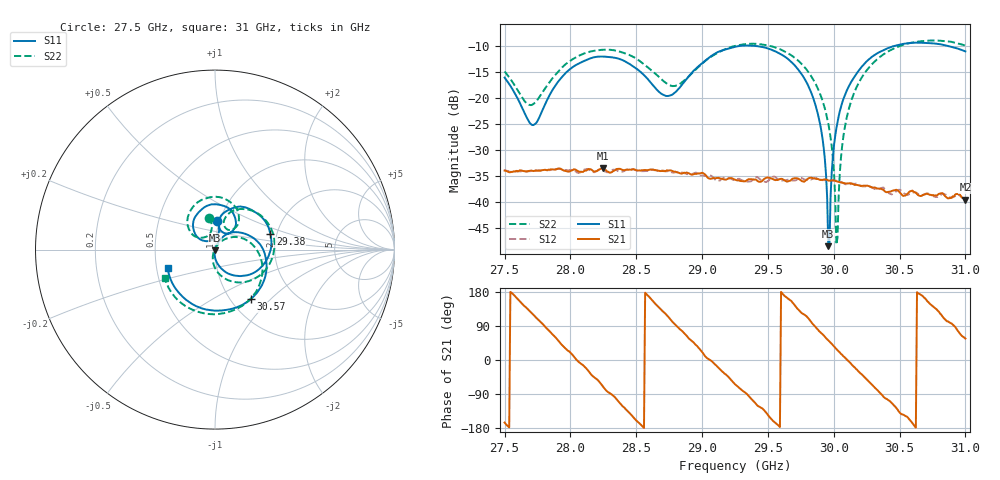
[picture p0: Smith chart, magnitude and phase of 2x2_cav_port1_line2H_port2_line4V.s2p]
!Created with skrf (http://scikit-rf.org).
# GHz S RI R 50.0
!freq ReS11 ImS11 ReS21 ImS21 ReS12 ImS12 ReS22 ImS22
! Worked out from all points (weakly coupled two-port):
!   401 points, 27.5 GHz to 31 GHz, reference 50 ohm
!   highest |S21| = -33.46 dB at 28.24 GHz (marker M1); lowest = -39.5 dB at 31 GHz (marker M2)
!   lowest |S11| = -48.4 dB at 29.96 GHz (marker M3), VSWR 1.01, Z = 50 - j0.377 ohm
!   |S11| at or under -10 dB: start of sweep to 29.27 GHz; 29.43 GHz to 30.45 GHz (1.016 GHz wide, 3.39 % of centre); 30.87929 GHz to end of sweep
!   |S22| runs from -48.1 to -8.9 dB; largest |S21 - S12| = 0.0016
!   S11 on the Smith chart (normalised r, x): 27.5 GHz: 0.98, +0.32; 29.38 GHz: 1.85, +0.36; 30.57 GHz: 1.23, -0.77; 31 GHz: 0.57, -0.13
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27.5  0.0138 0.1577  -0.0196 -0.00517  -0.0196 -0.00542  -0.0348 0.1784
27.71875  -0.0218 0.051  -0.00987 0.0174  -0.00982 0.0175  -0.0541 0.0699
27.91125  -0.1138 0.0938  0.0138 0.0161  0.0137 0.0161  -0.145 0.1127
28.08625  -0.0965 0.2018  0.0193 -0.00393  0.0195 -0.00335  -0.1271 0.2321
28.24375  -0.000122 0.2525  0.00786 -0.0197  0.00728 -0.0191  -0.0218 0.2924
28.6725  0.073 0.0896  -0.0151 0.0133  -0.0154 0.0132  0.1089 0.1186
28.8125  0.0246 0.1175  0.000808 0.0195  0.000194 0.0196  0.0586 0.1203
29.25  0.247 0.1926  0.00726 -0.0149  0.00786 -0.0146  0.2599 0.1862
29.38125  0.3092 0.0863  -0.00439 -0.016  -0.00345 -0.016  0.3262 0.0784
29.6525  0.1951 -0.1385  -0.0152 0.00491  -0.0157 0.00537  0.2167 -0.1639
29.83625  0.0322 -0.1026  -0.00202 0.0171  -0.00226 0.0167  0.0418 -0.1522
29.915  -0.000584 -0.041  0.00618 0.0153  0.00639 0.0151  -0.00327 -0.0948
29.95875  -0.000441 -0.00377  0.0101 0.0127  0.01 0.0128  -0.012 -0.0557
29.97625  0.00326 0.0112  0.0113 0.0116  0.0114 0.0116  -0.0125 -0.0399
30.01125  0.0177 0.0398  0.0136 0.00861  0.0137 0.00875  -0.00597 -0.00923
30.02875  0.0268 0.053  0.0143 0.00683  0.0144 0.007  0.000111 0.00459
30.0725  0.0562 0.0803  0.0151 0.00269  0.0152 0.00257  0.023 0.0358
30.13375  0.1074 0.0972  0.0149 -0.0029  0.0151 -0.00248  0.0706 0.0645
30.4225  0.2863 -0.1131  -0.00383 -0.0121  -0.00443 -0.0113  0.2649 -0.1108
30.57125  0.1998 -0.2757  -0.0114 -0.00519  -0.0111 -0.00467  0.1941 -0.2783
30.7725  -0.0622 -0.3306  -0.00842 0.00811  -0.00781 0.00817  -0.0551 -0.356
31  -0.2635 -0.103  0.00589 0.00887  0.00568 0.00924  -0.281 -0.1569
